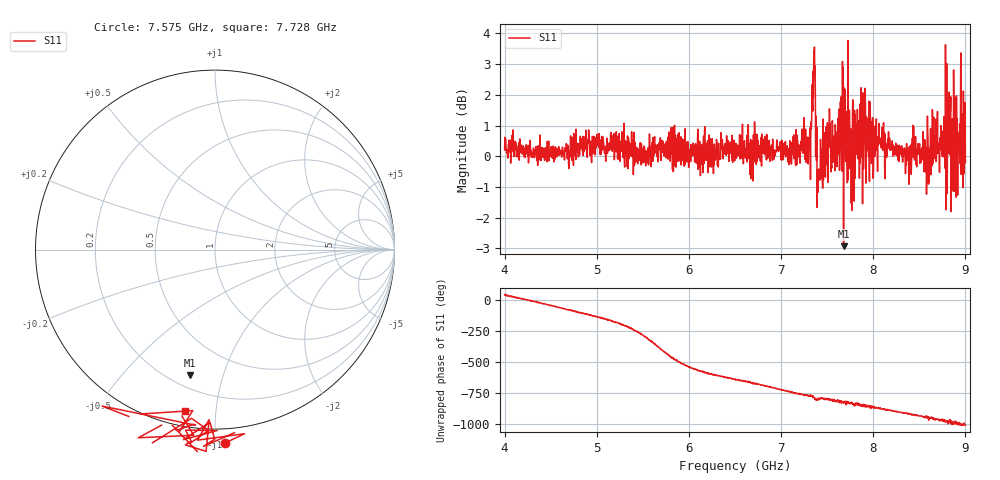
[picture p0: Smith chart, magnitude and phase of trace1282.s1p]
! Created with skrf 1.8.0 (http://scikit-rf.org).
# Hz S RI R 50.0
!freq ReS11 ImS11
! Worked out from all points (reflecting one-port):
!   1601 points, 4 GHz to 9 GHz, reference 50 ohm
!   lowest |S11| = -2.9 dB at 7.678 GHz (marker M1), VSWR 5.99, Z = 13.7 - j39.1 ohm
!   phase of S11 starts at 47 deg and turns -1058 deg over the sweep
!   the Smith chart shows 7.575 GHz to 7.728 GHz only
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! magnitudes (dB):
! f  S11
! 4 GHz  0.2
! 4.625 GHz  0.1
! 5.25 GHz  -0.2
! 5.875 GHz  -0.2
! 6.5 GHz  0.2
! 7.125 GHz  0.4
! 7.294 GHz  -0.3
! 7.319 GHz  -0.8
! 7.347 GHz  2.8
! 7.362 GHz  3.6
! 7.4 GHz  -1.2
! 7.416 GHz  -0.4
! 7.509 GHz  -0.8
! 7.562 GHz  -0.2
! 7.669 GHz  1.9
! 7.678 GHz  -2.9
! 7.75 GHz  0.7
! 7.784 GHz  -0.2
! 7.822 GHz  0.1
! 7.928 GHz  1.2
! 7.981 GHz  -0.2
! 8.375 GHz  0.1
! 8.603 GHz  -0.1
! 8.656 GHz  1.3
! 8.816 GHz  0.1
! 8.869 GHz  -1.1
! 8.972 GHz  0.9
! 9 GHz  -0.2
